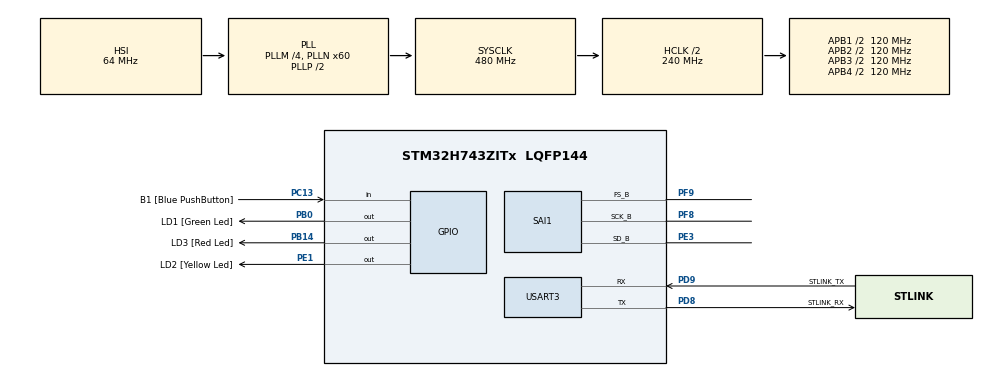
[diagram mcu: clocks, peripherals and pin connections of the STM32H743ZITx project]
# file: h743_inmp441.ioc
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CORTEX_M7.CPU_DCache=Enabled
CORTEX_M7.CPU_ICache=Enabled
Dma.Request0=SAI1_B
Dma.SAI1_B.0.Direction=DMA_PERIPH_TO_MEMORY
Dma.SAI1_B.0.EventEnable=DISABLE
Dma.SAI1_B.0.FIFOMode=DMA_FIFOMODE_DISABLE
Dma.SAI1_B.0.Instance=DMA2_Stream4
Dma.SAI1_B.0.MemDataAlignment=DMA_MDATAALIGN_WORD
Dma.SAI1_B.0.MemInc=DMA_MINC_ENABLE
Dma.SAI1_B.0.Mode=DMA_CIRCULAR
Dma.SAI1_B.0.PeriphDataAlignment=DMA_PDATAALIGN_WORD
Dma.SAI1_B.0.PeriphInc=DMA_PINC_DISABLE
Dma.SAI1_B.0.Polarity=HAL_DMAMUX_REQ_GEN_RISING
Dma.SAI1_B.0.Priority=DMA_PRIORITY_LOW
Dma.SAI1_B.0.RequestNumber=1
Dma.SAI1_B.0.SignalID=NONE
Dma.SAI1_B.0.SyncEnable=DISABLE
Dma.SAI1_B.0.SyncPolarity=HAL_DMAMUX_SYNC_NO_EVENT
Dma.SAI1_B.0.SyncRequestNumber=1
Dma.SAI1_B.0.SyncSignalID=NONE
Mcu.Family=STM32H7
Mcu.Name=STM32H743ZITx
Mcu.Package=LQFP144
NVIC.DMA2_Stream4_IRQn=true\:0\:0\:false\:false\:true\:false\:true
NVIC.PriorityGroup=NVIC_PRIORITYGROUP_4
PB0.GPIO_Label=LD1 [Green Led]
PB0.Signal=GPIO_Output
PB14.GPIO_Label=LD3 [Red Led]
PB14.Signal=GPIO_Output
PC13.GPIO_Label=B1 [Blue PushButton]
PC13.Signal=GPIO_Input
PC14-OSC32_IN\ (OSC32_IN).Mode=LSE-External-Oscillator
PC14-OSC32_IN\ (OSC32_IN).Signal=RCC_OSC32_IN
PC15-OSC32_OUT\ (OSC32_OUT).Mode=LSE-External-Oscillator
PC15-OSC32_OUT\ (OSC32_OUT).Signal=RCC_OSC32_OUT
PD8.GPIO_Label=STLINK_RX
PD8.Mode=Asynchronous
PD8.Signal=USART3_TX
PD9.GPIO_Label=STLINK_TX
PD9.Mode=Asynchronous
PD9.Signal=USART3_RX
PE1.GPIO_Label=LD2 [Yellow Led]
PE1.Signal=GPIO_Output
PE3.Mode=SAI_B_Master
PE3.Signal=SAI1_SD_B
PF8.Mode=SAI_B_Master
PF8.Signal=SAI1_SCK_B
PF9.Mode=SAI_B_Master
PF9.Signal=SAI1_FS_B
PH0-OSC_IN\ (PH0).Mode=HSE-External-Clock-Source
PH0-OSC_IN\ (PH0).Signal=RCC_OSC_IN
ProjectManager.HeapSize=0x200
ProjectManager.StackSize=0x400
ProjectManager.TargetToolchain=MDK-ARM V5.27
RCC.ADCFreq_Value=129000000
RCC.APB1Freq_Value=120000000
RCC.APB2Freq_Value=120000000
RCC.APB3Freq_Value=120000000
RCC.APB4Freq_Value=120000000
RCC.CortexFreq_Value=480000000
RCC.D1PPRE=RCC_APB3_DIV2
RCC.D2PPRE1=RCC_APB1_DIV2
RCC.D2PPRE2=RCC_APB2_DIV2
RCC.D3PPRE=RCC_APB4_DIV2
RCC.DIVM1=4
RCC.DIVN1=60
RCC.DIVQ1=7
RCC.HCLKFreq_Value=240000000
RCC.HPRE=RCC_HCLK_DIV2
RCC.HSE_VALUE=8000000
RCC.PLL2FRACN=0
RCC.PLL3FRACN=0
RCC.PLLFRACN=0
RCC.PWR_Regulator_Voltage_Scale=PWR_REGULATOR_VOLTAGE_SCALE0
RCC.SYSCLKFreq_VALUE=480000000
RCC.SYSCLKSource=RCC_SYSCLKSOURCE_PLLCLK
RCC.USBFreq_Value=137142857.14285713
SAI1.AudioFrequency-SAI_B_Master=SAI_AUDIO_FREQUENCY_32K
SAI1.AudioMode-SAI_B_Master=SAI_MODEMASTER_RX
SAI1.BasicDataSize-SAI_B_Master=SAI_PROTOCOL_DATASIZE_24BIT
SAI1.ErrorAudioFreq-SAI_B_Master=4.63 %
SAI1.InitProtocol-SAI_B_Master=Enable
SAI1.Instance-SAI_B_Master=SAI$Index_Block_B
SAI1.MClockEnable-SAI_B_Master=SAI_MASTERCLOCK_DISABLE
SAI1.RealAudioFreq-SAI_B_Master=33.482 KHz
SAI1.VirtualMode-SAI_B_Master=VM_MASTER
SAI1.VirtualProtocol-SAI_B_BASIC=VM_BASIC_PROTOCOL
USART3.VirtualMode-Asynchronous=VM_ASYNC
VP_SAI1_VP_$IpInstance_SAIB_SAI_BASIC.Mode=SAI_B_BASIC
board=NUCLEO-H743ZI2

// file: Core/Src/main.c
/* USER CODE BEGIN Header */
/**
  ******************************************************************************
  * @file           : main.c
  * @brief          : Main program body
  ******************************************************************************
  * @attention
  *
  * <h2><center>&copy; Copyright (c) 2021 STMicroelectronics.
  * All rights reserved.</center></h2>
  *
  * This software component is licensed by ST under BSD 3-Clause license,
  * the "License"; You may not use this file except in compliance with the
  * License. You may obtain a copy of the License at:
  *                        opensource.org/licenses/BSD-3-Clause
  *
  ******************************************************************************
  */
/* USER CODE END Header */
#include "main.h"

/* USER CODE BEGIN Includes */
#include <stdarg.h>
#include <stdio.h>
#include <stdint.h>
#include <stdbool.h>
#include <string.h>
#include <math.h>

#include <fsl_debug_console.h>
#include "main_functions.h"

#define ENABLE_SAI 0
/*
Memory Layout (for i2s dma error):
		search: stm32h7 i2s dma error
		https://community.st.com/s/article/FAQ-DMA-is-not-working-on-STM32H7-devices
		https://community.st.com/s/question/0D50X0000ADEuD0SQL/stm32h7-i2s-dma-transfer-issue
		Keil: check IRAM2, uncheck IRAM1, and SCB_EnableICache(); SCB_EnableDCache();

480MHz:
	RCC->Power Parameters->Power Regulator Voltage Scale : Power Regulator Voltage Scale 0
	Frequency searched for is out of range for this VOS range
	https://blog.csdn.net/weixin_42165647/article/details/115325494
*/

/* USER CODE END Includes */

/* USER CODE BEGIN PD */

#define I2S_BUF_LEN 6400  // 4x desired size to downsample and throw out 1 ch
#define I2S_BUF_SKIP 4    // (2x L/R ch) * (2x sample rate)

/* USER CODE END PD */

SAI_HandleTypeDef hsai_BlockB1;
DMA_HandleTypeDef hdma_sai1_b;

UART_HandleTypeDef huart3;

/* USER CODE BEGIN PV */
// Globals
uint32_t i2s_buf[I2S_BUF_LEN];
static bool record_ready = false;
/* USER CODE END PV */

void SystemClock_Config(void);
static void MX_GPIO_Init(void);
static void MX_DMA_Init(void);
static void MX_USART3_UART_Init(void);
static void MX_SAI1_Init(void);
/* USER CODE BEGIN PFP */
static void audio_buffer_inference_callback(uint32_t n_bytes, uint32_t offset);
bool ei_microphone_inference_end(void);
void ei_printf(const char *format, ...);
void vprint(const char *fmt, va_list argp);

/* USER CODE END PFP */

/* USER CODE BEGIN 0 */
#define BLOCK_SIZE_U16 4
uint8_t rxBuf[BLOCK_SIZE_U16*2];
uint8_t txBuf[BLOCK_SIZE_U16*2];
/* USER CODE END 0 */

int main(void)
{
  /* USER CODE BEGIN 1 */
#if ENABLE_SAI
	HAL_StatusTypeDef hal_res;
#endif
  /* USER CODE END 1 */

  /* Enable I-Cache---------------------------------------------------------*/
  SCB_EnableICache();

  /* Enable D-Cache---------------------------------------------------------*/
  SCB_EnableDCache();

  /* MCU Configuration--------------------------------------------------------*/

  /* Reset of all peripherals, Initializes the Flash interface and the Systick. */
  HAL_Init();

  /* Configure the system clock */
  SystemClock_Config();

  /* Initialize all configured peripherals */
  MX_GPIO_Init();
  MX_DMA_Init();
  MX_USART3_UART_Init();
  MX_SAI1_Init();
  /* USER CODE BEGIN 2 */

	PRINTF("SAI Demo started!\n\r");

// This is the default main used on systems that have the standard C entry
// point. Other devices (for example FreeRTOS or ESP32) that have different
// requirements for entry code (like an app_main function) should specialize
// this main.cc file in a target-specific subfolder.
//int main(int argc, char* argv[]) {
		setup();
		//while (true) {
		int k = 0;
		for (k = 0; k < 1000; ++k) { //loop * 10 == 1s, loop * 100 == 10s
			loop();
		}
//}

//about mymalloc, see malloc.h
//FIXME:for micro_speech micro_frontend, at least 14k (if 13K, mymalloc will return null)
//#define MEM1_MAX_SIZE			20*1024//14*1024//150*1024

#if !ENABLE_SAI
	ei_printf("ERROR: Could not initialize I2S microphone.\r\n");
#else
  //Receiver
	//HAL_SAI_Receive(&hsai_BlockB1, rxBuf, BLOCK_SIZE_U16, 4);

  hal_res = HAL_SAI_Receive_DMA(&hsai_BlockB1, (uint8_t *)i2s_buf, I2S_BUF_LEN);
  if (hal_res != HAL_OK)
  {
    ei_printf("ERROR: Could not initialize I2S microphone.\r\n");
  }
	/**/
  // Start doing inference
  record_ready = true;
#endif

  /* USER CODE END 2 */

  /* Infinite loop */
  /* USER CODE BEGIN WHILE */
  while (1)
  {
		HAL_GPIO_TogglePin(LD1_GPIO_Port, LD1_Pin);
#if !ENABLE_SAI
		ei_printf("blink\r\n");
#endif
    HAL_Delay(1000);
    /* USER CODE END WHILE */

  }
}

void SystemClock_Config(void)
{
  RCC_OscInitTypeDef RCC_OscInitStruct = {0};
  RCC_ClkInitTypeDef RCC_ClkInitStruct = {0};

  /** Supply configuration update enable
  */
  HAL_PWREx_ConfigSupply(PWR_LDO_SUPPLY);
  /** Configure the main internal regulator output voltage
  */
  __HAL_PWR_VOLTAGESCALING_CONFIG(PWR_REGULATOR_VOLTAGE_SCALE0);

  while(!__HAL_PWR_GET_FLAG(PWR_FLAG_VOSRDY)) {}
  /** Initializes the RCC Oscillators according to the specified parameters
  * in the RCC_OscInitTypeDef structure.
  */
  RCC_OscInitStruct.OscillatorType = RCC_OSCILLATORTYPE_HSI;
  RCC_OscInitStruct.HSIState = RCC_HSI_DIV1;
  RCC_OscInitStruct.HSICalibrationValue = RCC_HSICALIBRATION_DEFAULT;
  RCC_OscInitStruct.PLL.PLLState = RCC_PLL_ON;
  RCC_OscInitStruct.PLL.PLLSource = RCC_PLLSOURCE_HSI;
  RCC_OscInitStruct.PLL.PLLM = 4;
  RCC_OscInitStruct.PLL.PLLN = 60;
  RCC_OscInitStruct.PLL.PLLP = 2;
  RCC_OscInitStruct.PLL.PLLQ = 7;
  RCC_OscInitStruct.PLL.PLLR = 2;
  RCC_OscInitStruct.PLL.PLLRGE = RCC_PLL1VCIRANGE_3;
  RCC_OscInitStruct.PLL.PLLVCOSEL = RCC_PLL1VCOWIDE;
  RCC_OscInitStruct.PLL.PLLFRACN = 0;
  if (HAL_RCC_OscConfig(&RCC_OscInitStruct) != HAL_OK)
  {
    Error_Handler();
  }
  /** Initializes the CPU, AHB and APB buses clocks
  */
  RCC_ClkInitStruct.ClockType = RCC_CLOCKTYPE_HCLK|RCC_CLOCKTYPE_SYSCLK
                              |RCC_CLOCKTYPE_PCLK1|RCC_CLOCKTYPE_PCLK2
                              |RCC_CLOCKTYPE_D3PCLK1|RCC_CLOCKTYPE_D1PCLK1;
  RCC_ClkInitStruct.SYSCLKSource = RCC_SYSCLKSOURCE_PLLCLK;
  RCC_ClkInitStruct.SYSCLKDivider = RCC_SYSCLK_DIV1;
  RCC_ClkInitStruct.AHBCLKDivider = RCC_HCLK_DIV2;
  RCC_ClkInitStruct.APB3CLKDivider = RCC_APB3_DIV2;
  RCC_ClkInitStruct.APB1CLKDivider = RCC_APB1_DIV2;
  RCC_ClkInitStruct.APB2CLKDivider = RCC_APB2_DIV2;
  RCC_ClkInitStruct.APB4CLKDivider = RCC_APB4_DIV2;

  if (HAL_RCC_ClockConfig(&RCC_ClkInitStruct, FLASH_LATENCY_4) != HAL_OK)
  {
    Error_Handler();
  }
}

static void MX_SAI1_Init(void)
{

  hsai_BlockB1.Instance = SAI1_Block_B;
  hsai_BlockB1.Init.AudioMode = SAI_MODEMASTER_RX;
  hsai_BlockB1.Init.Synchro = SAI_ASYNCHRONOUS;
  hsai_BlockB1.Init.OutputDrive = SAI_OUTPUTDRIVE_DISABLE;
  hsai_BlockB1.Init.NoDivider = SAI_MASTERDIVIDER_ENABLE;
  hsai_BlockB1.Init.FIFOThreshold = SAI_FIFOTHRESHOLD_EMPTY;
  hsai_BlockB1.Init.AudioFrequency = SAI_AUDIO_FREQUENCY_32K;
  hsai_BlockB1.Init.SynchroExt = SAI_SYNCEXT_DISABLE;
  hsai_BlockB1.Init.MonoStereoMode = SAI_STEREOMODE;
  hsai_BlockB1.Init.CompandingMode = SAI_NOCOMPANDING;
  if (HAL_SAI_InitProtocol(&hsai_BlockB1, SAI_I2S_STANDARD, SAI_PROTOCOL_DATASIZE_24BIT, 2) != HAL_OK)
  {
    Error_Handler();
  }

}

static void MX_USART3_UART_Init(void)
{

  huart3.Instance = USART3;
  huart3.Init.BaudRate = 115200;
  huart3.Init.WordLength = UART_WORDLENGTH_8B;
  huart3.Init.StopBits = UART_STOPBITS_1;
  huart3.Init.Parity = UART_PARITY_NONE;
  huart3.Init.Mode = UART_MODE_TX_RX;
  huart3.Init.HwFlowCtl = UART_HWCONTROL_NONE;
  huart3.Init.OverSampling = UART_OVERSAMPLING_16;
  huart3.Init.OneBitSampling = UART_ONE_BIT_SAMPLE_DISABLE;
  huart3.Init.ClockPrescaler = UART_PRESCALER_DIV1;
  huart3.AdvancedInit.AdvFeatureInit = UART_ADVFEATURE_NO_INIT;
  if (HAL_UART_Init(&huart3) != HAL_OK)
  {
    Error_Handler();
  }
  if (HAL_UARTEx_SetTxFifoThreshold(&huart3, UART_TXFIFO_THRESHOLD_1_8) != HAL_OK)
  {
    Error_Handler();
  }
  if (HAL_UARTEx_SetRxFifoThreshold(&huart3, UART_RXFIFO_THRESHOLD_1_8) != HAL_OK)
  {
    Error_Handler();
  }
  if (HAL_UARTEx_DisableFifoMode(&huart3) != HAL_OK)
  {
    Error_Handler();
  }

}

static void MX_DMA_Init(void)
{

  /* DMA controller clock enable */
  __HAL_RCC_DMA2_CLK_ENABLE();

  /* DMA interrupt init */
  /* DMA2_Stream4_IRQn interrupt configuration */
  HAL_NVIC_SetPriority(DMA2_Stream4_IRQn, 0, 0);
  HAL_NVIC_EnableIRQ(DMA2_Stream4_IRQn);

}

static void MX_GPIO_Init(void)
{
  GPIO_InitTypeDef GPIO_InitStruct = {0};

  /* GPIO Ports Clock Enable */
  __HAL_RCC_GPIOE_CLK_ENABLE();
  __HAL_RCC_GPIOC_CLK_ENABLE();
  __HAL_RCC_GPIOF_CLK_ENABLE();
  __HAL_RCC_GPIOH_CLK_ENABLE();
  __HAL_RCC_GPIOB_CLK_ENABLE();
  __HAL_RCC_GPIOD_CLK_ENABLE();

  /*Configure GPIO pin Output Level */
  HAL_GPIO_WritePin(GPIOB, LD1_Pin|LD3_Pin, GPIO_PIN_RESET);

  /*Configure GPIO pin Output Level */
  HAL_GPIO_WritePin(LD2_GPIO_Port, LD2_Pin, GPIO_PIN_RESET);

  /*Configure GPIO pin : B1_Pin */
  GPIO_InitStruct.Pin = B1_Pin;
  GPIO_InitStruct.Mode = GPIO_MODE_INPUT;
  GPIO_InitStruct.Pull = GPIO_NOPULL;
  HAL_GPIO_Init(B1_GPIO_Port, &GPIO_InitStruct);

  /*Configure GPIO pins : LD1_Pin LD3_Pin */
  GPIO_InitStruct.Pin = LD1_Pin|LD3_Pin;
  GPIO_InitStruct.Mode = GPIO_MODE_OUTPUT_PP;
  GPIO_InitStruct.Pull = GPIO_NOPULL;
  GPIO_InitStruct.Speed = GPIO_SPEED_FREQ_LOW;
  HAL_GPIO_Init(GPIOB, &GPIO_InitStruct);

  /*Configure GPIO pin : LD2_Pin */
  GPIO_InitStruct.Pin = LD2_Pin;
  GPIO_InitStruct.Mode = GPIO_MODE_OUTPUT_PP;
  GPIO_InitStruct.Pull = GPIO_NOPULL;
  GPIO_InitStruct.Speed = GPIO_SPEED_FREQ_LOW;
  HAL_GPIO_Init(LD2_GPIO_Port, &GPIO_InitStruct);

}

/* USER CODE BEGIN 4 */

/**
 * @brief      Stop audio sampling, release sampling buffers
 *
 * @return     false on error
 */
bool ei_microphone_inference_end(void)
{
#if ENABLE_SAI
  // Stop I2S
  HAL_SAI_DMAStop(&hsai_BlockB1);
#endif

  // Free up double buffer
  record_ready = false;

  return true;
}

/**
 * @brief      Copy sample data in selected buf and signal ready when buffer is full
 *
 * @param[in]  n_bytes  Number of bytes to copy
 * @param[in]  offset   offset in sampleBuffer
 */
static void audio_buffer_inference_callback(uint32_t n_bytes, uint32_t offset)
{
  // Copy samples from I2S buffer to inference buffer. Convert 24-bit, 32kHz
  // samples to 16-bit, 16kHz
  int maxValue = 0;
	for (uint32_t i = 0; i < (n_bytes >> 1); i++) {
    int16_t value = (int16_t)(i2s_buf[offset + (I2S_BUF_SKIP * i)] >> 8);
		if (fabs((double)value) > fabs((double)maxValue)) {
			maxValue = value;
		}
		//ei_printf("%d,%d,%d\r\n", 256*128, -256*128, value);
	}
	ei_printf("%d,%d,%d\r\n", 256 * 8, -256 * 8, maxValue);
}

/**
 * Get raw audio signal data
 */
/**
 * Low-level print function that uses UART to print status messages.
 */
void vprint(const char *fmt, va_list argp)
{
  char string[200];
  if(0 < vsprintf(string, fmt, argp)) // build string
  {
      HAL_UART_Transmit(&huart3, (uint8_t*)string, strlen(string), 0xffffff);
  }
}

/**
 * Wrapper for vprint. Use this like you would printf to print messages to the serial console.
 */
extern void ei_printf(const char *format, ...)
{
  va_list myargs;
  va_start(myargs, format);
  vprint(format, myargs);
  va_end(myargs);
}

#if ENABLE_SAI
/**
 * Called when the first half of the receive buffer is full
 */
void HAL_SAI_RxHalfCpltCallback(SAI_HandleTypeDef *hsai)
{
		//restore signed 24 bit sample from 16-bit buffers
		int lSample = (int) (rxBuf[0]<<16) | rxBuf[1];
		int rSample = (int) (rxBuf[2]<<16) | rxBuf[3];

		lSample = lSample << 1; //amplify sound
		rSample = lSample; // because there is one mic only

		//sum to mono
		lSample = rSample + lSample;
		rSample = lSample;

  if (record_ready == true)
  {
    audio_buffer_inference_callback(I2S_BUF_LEN / I2S_BUF_SKIP, 0);
  }
}
#endif

#if ENABLE_SAI
/**
 * Called when the second half of the receive buffer is full
 */
void HAL_SAI_RxCpltCallback(SAI_HandleTypeDef *hsai)
{
	//restore signed 24 bit sample from 16-bit buffers
			int lSample = (int) (rxBuf[4]<<16) | rxBuf[5];
			int rSample = (int) (rxBuf[6]<<16) | rxBuf[7];

			lSample = lSample << 1; //amplify sound
		    rSample = lSample; // because there is one mic only

			//sum to mono
			lSample = rSample + lSample;
			rSample = lSample;

  if (record_ready == true)
  {
    audio_buffer_inference_callback(I2S_BUF_LEN / I2S_BUF_SKIP, I2S_BUF_LEN >> 1);
  }
}
#endif

/* USER CODE END 4 */

void Error_Handler(void)
{
  __disable_irq();
  while (1)
  {
  }
}

/************************ (C) COPYRIGHT STMicroelectronics *****END OF FILE****/
